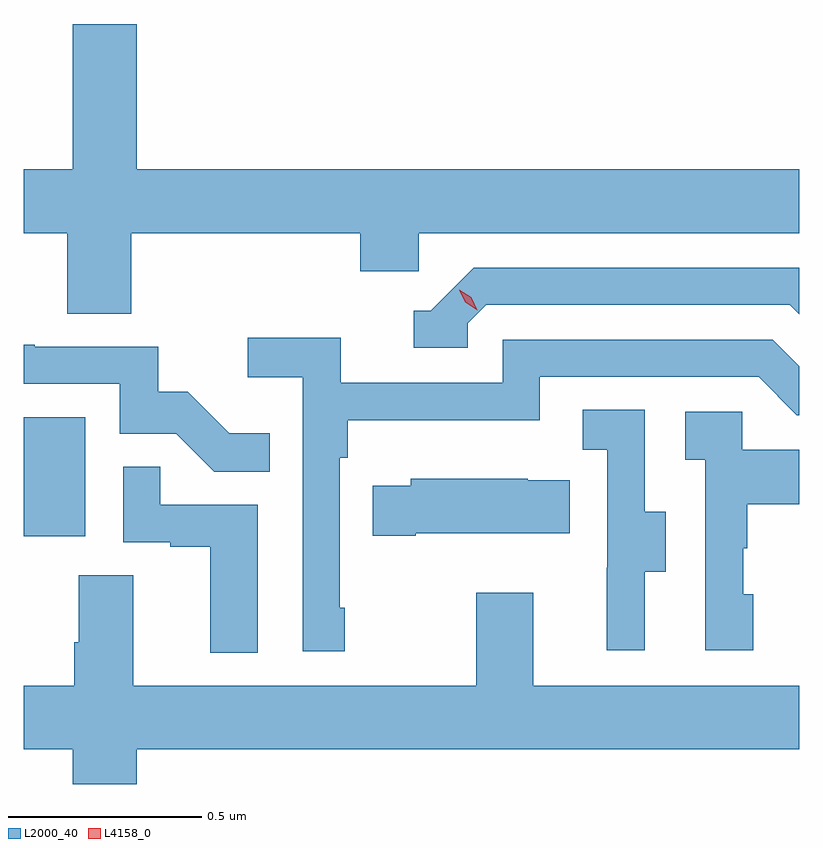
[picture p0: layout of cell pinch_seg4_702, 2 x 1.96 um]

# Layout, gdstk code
import gdstk
lib = gdstk.Library(unit=1e-6, precision=1e-09)
def R(c, l, rs):  # rectangles x0, y0, x1, y1
    for r in rs: c.add(gdstk.rectangle(r[:2], r[2:], *l))
def P(c, l, *ps):  # polygons
    for p in ps: c.add(gdstk.Polygon(p, *l))
L2000_40 = (2000, 40)
L4158_0 = (4158, 0)

pinch_seg4_702 = lib.new_cell('pinch_seg4_702')
R(pinch_seg4_702, L2000_40, [(1141.903,758.742,1142.062,759.049)])
P(pinch_seg4_702, L2000_40, [(1142.18,759.524),(1142.771,759.524),(1142.771,759.426),(1142.922,759.426),(1142.922,759.524),(1143.903,759.524),(1143.903,759.688),(1142.194,759.688),(1142.194,760.063),(1142.03,760.063),(1142.03,759.688),(1141.903,759.688),(1141.903,759.524),(1142.015,759.524),(1142.015,759.316),(1142.18,759.316)],
  [(1143.048,759.291),(1143.096,759.339),(1143.879,759.339),(1143.903,759.315),(1143.903,759.435),(1143.063,759.435),(1142.952,759.324),(1142.909,759.324),(1142.909,759.228),(1143.048,759.228)],
  [(1142.731,758.557),(1142.718,758.557),(1142.718,758.945),(1142.738,758.945),(1142.738,759.041),(1143.234,759.041),(1143.234,759.153),(1143.798,759.153),(1143.897,759.054),(1143.903,759.054),(1143.903,759.181),(1143.835,759.249),(1143.138,759.249),(1143.138,759.138),(1142.72,759.138),(1142.72,759.254),(1142.481,759.254),(1142.481,759.152),(1142.622,759.152),(1142.622,758.445),(1142.731,758.445)],
  [(1142.537,759.007),(1142.433,759.007),(1142.326,759.114),(1142.25,759.114),(1142.25,759.231),(1141.931,759.231),(1141.931,759.236),(1141.903,759.236),(1141.903,759.135),(1142.151,759.135),(1142.151,759.006),(1142.296,759.006),(1142.394,758.908),(1142.537,758.908)],
  [(1143.505,758.65),(1143.559,758.65),(1143.559,758.805),(1143.504,758.805),(1143.504,759.068),(1143.345,759.068),(1143.345,758.965),(1143.408,758.965),(1143.408,758.661),(1143.407,758.661),(1143.407,758.448),(1143.505,758.448)],
  [(1143.784,758.592),(1143.759,758.592),(1143.759,758.711),(1143.769,758.711),(1143.769,758.825),(1143.903,758.825),(1143.903,758.965),(1143.756,758.965),(1143.756,759.063),(1143.609,759.063),(1143.609,758.939),(1143.66,758.939),(1143.66,758.448),(1143.784,758.448)],
  [(1142.506,758.823),(1142.255,758.823),(1142.255,758.921),(1142.16,758.921),(1142.16,758.727),(1142.281,758.727),(1142.281,758.715),(1142.384,758.715),(1142.384,758.441),(1142.506,758.441)],
  [(1142.914,758.75),(1143.311,758.75),(1143.311,758.887),(1143.203,758.887),(1143.203,758.89),(1142.901,758.89),(1142.901,758.872),(1142.803,758.872),(1142.803,758.743),(1142.914,758.743)],
  [(1142.194,758.192),(1143.903,758.192),(1143.903,758.356),(1143.217,758.356),(1143.217,758.596),(1143.07,758.596),(1143.07,758.356),(1142.185,758.356),(1142.185,758.642),(1142.045,758.642),(1142.045,758.468),(1142.033,758.468),(1142.033,758.356),(1141.903,758.356),(1141.903,758.192),(1142.03,758.192),(1142.03,758.103),(1142.194,758.103)])
P(pinch_seg4_702, L4158_0, [(1143.072,759.325),(1143.042,759.345),(1143.026,759.378),(1143.026,759.378),(1143.026,759.378),(1143.057,759.358),(1143.072,759.325),(1143.072,759.325)])

lib.write_gds('pinch_seg4_702.gds')
